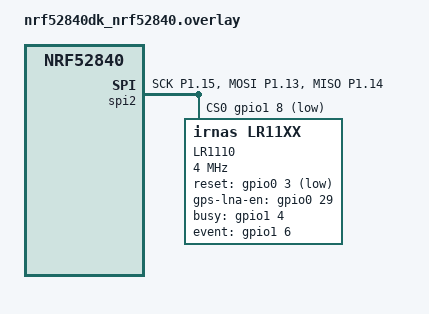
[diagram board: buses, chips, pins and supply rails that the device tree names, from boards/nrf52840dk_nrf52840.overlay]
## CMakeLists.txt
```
# SPDX-License-Identifier: Apache-2.0

cmake_minimum_required(VERSION 3.13.1)

find_package(Zephyr HINTS $ENV{ZEPHYR_BASE})
project(gnss)

zephyr_compile_options(-fdiagnostics-color=always)


zephyr_include_directories(.)
add_subdirectory(${CMAKE_CURRENT_SOURCE_DIR}/../common src/common)
add_subdirectory(src)
```

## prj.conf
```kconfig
# Enable logging (it need to be disabled for low power)
CONFIG_PRINTK=y
CONFIG_GPIO=y
CONFIG_SERIAL=y
CONFIG_CONSOLE=y
CONFIG_UART_CONSOLE=y
CONFIG_LOG=y
CONFIG_LOG_DEFAULT_LEVEL=4
CONFIG_LOG_BACKEND_UART=y
CONFIG_LOG_PRINTK=y

CONFIG_SPI=y
CONFIG_LR11XX_LIB=y
CONFIG_LR11XX_LOG_LEVEL_INF=y

CONFIG_PINCTRL=y
CONFIG_NEWLIB_LIBC=y
```

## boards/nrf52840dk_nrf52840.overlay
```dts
#include <lr11xx_bindings_def.h>
&spi1 {
    status = "disabled";
};

&spi2 {
    compatible = "nordic,nrf-spi";
    status = "okay";
    pinctrl-0 = <&spi2_default>;
    pinctrl-1 = <&spi2_sleep>;
    pinctrl-names = "default", "sleep";

    cs-gpios = <&gpio1 8 GPIO_ACTIVE_LOW>;
    lr1120: lr1120@0 {
        compatible = "irnas,lr11xx";
        reg = <0>;
        spi-max-frequency = <4000000>;
        label = "LR1110";

        reset-gpios = <&gpio0 3 GPIO_ACTIVE_LOW>;
        gps-lna-en-gpios = <&gpio0 29 0>;
        busy-gpios = <&gpio1 4 GPIO_ACTIVE_HIGH>;
        event-gpios = <&gpio1 6 (GPIO_ACTIVE_HIGH | GPIO_PULL_DOWN) >;

        rf-sw-enable = <(LR11XX_DIO5 | LR11XX_DIO6 | LR11XX_DIO7)>;
        rf-sw-rx-mode = <LR11XX_DIO5>;
        rf-sw-tx-mode = <(LR11XX_DIO5 | LR11XX_DIO6)>;
        rf-sw-tx-hp-mode = <LR11XX_DIO6>;
        rf-sw-gnss-mode = <LR11XX_DIO7>;
    };
};

&pinctrl {
	spi2_default: spi2_default {
		group1 {
			psels = <NRF_PSEL(SPIM_SCK, 1, 15)>,
			        <NRF_PSEL(SPIM_MOSI, 1, 13)>,
			        <NRF_PSEL(SPIM_MISO, 1, 14)>;
		};
	};

	spi2_sleep: spi2_sleep {
		group1 {
			psels = <NRF_PSEL(SPIM_SCK, 1, 15)>,
			        <NRF_PSEL(SPIM_MOSI, 1, 13)>,
			        <NRF_PSEL(SPIM_MISO, 1, 14)>;
			low-power-enable;
		};
	};
};
```

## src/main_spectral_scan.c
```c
/*!
 * @file      main_spectral_scan.c
 *
 * @brief     Spectral-scan example for LR11xx chip
 *
 * The Clear BSD License
 * Copyright Semtech Corporation 2022. All rights reserved.
 *
 * Redistribution and use in source and binary forms, with or without
 * modification, are permitted (subject to the limitations in the disclaimer
 * below) provided that the following conditions are met:
 *     * Redistributions of source code must retain the above copyright
 *       notice, this list of conditions and the following disclaimer.
 *     * Redistributions in binary form must reproduce the above copyright
 *       notice, this list of conditions and the following disclaimer in the
 *       documentation and/or other materials provided with the distribution.
 *     * Neither the name of the Semtech corporation nor the
 *       names of its contributors may be used to endorse or promote products
 *       derived from this software without specific prior written permission.
 *
 * NO EXPRESS OR IMPLIED LICENSES TO ANY PARTY'S PATENT RIGHTS ARE GRANTED BY
 * THIS LICENSE. THIS SOFTWARE IS PROVIDED BY THE COPYRIGHT HOLDERS AND
 * CONTRIBUTORS "AS IS" AND ANY EXPRESS OR IMPLIED WARRANTIES, INCLUDING, BUT
 * NOT LIMITED TO, THE IMPLIED WARRANTIES OF MERCHANTABILITY AND FITNESS FOR A
 * PARTICULAR PURPOSE ARE DISCLAIMED. IN NO EVENT SHALL SEMTECH CORPORATION BE
 * LIABLE FOR ANY DIRECT, INDIRECT, INCIDENTAL, SPECIAL, EXEMPLARY, OR
 * CONSEQUENTIAL DAMAGES (INCLUDING, BUT NOT LIMITED TO, PROCUREMENT OF
 * SUBSTITUTE GOODS OR SERVICES; LOSS OF USE, DATA, OR PROFITS; OR BUSINESS
 * INTERRUPTION) HOWEVER CAUSED AND ON ANY THEORY OF LIABILITY, WHETHER IN
 * CONTRACT, STRICT LIABILITY, OR TORT (INCLUDING NEGLIGENCE OR OTHERWISE)
 * ARISING IN ANY WAY OUT OF THE USE OF THIS SOFTWARE, EVEN IF ADVISED OF THE
 * POSSIBILITY OF SUCH DAMAGE.
 */

/*
 * -----------------------------------------------------------------------------
 * --- DEPENDENCIES ------------------------------------------------------------
 */

#include <string.h>
#include <stdlib.h>
#include <zephyr/kernel.h>
#include <zephyr/types.h>
#include <zephyr/device.h>
#include <zephyr/devicetree.h>

#include "apps_common.h"
#include "lr11xx_board.h"
#include "lr11xx_radio.h"
#include "lr11xx_system.h"
#include "lr11xx_system_types.h"
#include "main_spectral_scan.h"

#include <zephyr/logging/log.h>
LOG_MODULE_REGISTER(main);

/*
 * -----------------------------------------------------------------------------
 * --- PRIVATE MACROS-----------------------------------------------------------
 */

/**
 * @brief Duration of the wait between setting to RX mode and valid instant RSSI value available
 *
 * Expressed in milliseconds
 *
 * @warning If switching from StandbyRC mode this delay is recommended to set to 30ms; if switching from StandbyXOSC,
 * 1ms.
 */
#define DELAY_BETWEEN_SET_RX_AND_VALID_RSSI_MS ( 1 )

/**
 * @brief Duration of the wait between each instant RSSI fetch. This is to make sure that the RSSI value is stable
 * before fetching
 */
#define DELAY_BETWEEN_EACH_INST_RSSI_FETCH_US ( 800 )

/*!
 * @brief determine RSSI level scales
 */
#define RSSI_LEVEL_NUM ( ( RSSI_TOP_LEVEL_DBM - RSSI_BOTTOM_LEVEL_DBM ) / RSSI_SCALE + 1 )

/*
 * -----------------------------------------------------------------------------
 * --- PRIVATE CONSTANTS -------------------------------------------------------
 */

#define APP_PARTIAL_SLEEP true

/*
 * -----------------------------------------------------------------------------
 * --- PRIVATE TYPES -----------------------------------------------------------
 */

/*
 * -----------------------------------------------------------------------------
 * --- PRIVATE VARIABLES -------------------------------------------------------
 */

const struct device *context = DEVICE_DT_GET(DT_NODELABEL(lr11xx));

static uint16_t      levels[RSSI_LEVEL_NUM];
const static uint8_t rssi_level_num = RSSI_LEVEL_NUM;

/*
 * -----------------------------------------------------------------------------
 * --- PRIVATE FUNCTIONS DECLARATION -------------------------------------------
 */

static void spectral_scan_start( uint32_t freq_hz );
static void print_configuration( void );

/*
 * -----------------------------------------------------------------------------
 * --- PUBLIC FUNCTIONS DEFINITION ---------------------------------------------
 */

/**
 * @brief Main application entry point.
 */
int main( void )
{
    int ret = 0;

    LOG_INF( "===== LR11xx Spectral Scan example =====\n" );

    apps_common_lr11xx_system_init( ( void* ) context );

    apps_common_lr11xx_fetch_and_print_version( ( void* ) context );

    apps_common_lr11xx_radio_init( ( void* ) context );

    print_configuration( );

    memset( levels, 0, ( rssi_level_num * sizeof( uint16_t ) ) );

    while( 1 )
    {
        int8_t         result;
        static uint8_t freq_chan_index = 0;
        const uint32_t freq_hz         = FREQ_START_HZ + ( freq_chan_index * WIDTH_CHAN_HZ );

        /* Start Spectral scan */
        spectral_scan_start( freq_hz );

        LOG_INF( "%.3f MHz: ", ( freq_hz / 1E6 ) );
        for( uint16_t i = 0; i < NB_SCAN; i++ )
        {
            k_sleep(K_USEC( DELAY_BETWEEN_EACH_INST_RSSI_FETCH_US ) );
            ret = lr11xx_radio_get_rssi_inst( context, &result );
            if(ret)
            {
                LOG_ERR("Failed to get rssi.");
            }
            levels[abs( result ) / RSSI_SCALE]++;
        }

        for( uint8_t i = 0; i < rssi_level_num; i++ )
        {
            printk( "%u ", levels[i] );
            levels[i] = 0;
        }
        printk( "\n" );

        /* Switch to next channel */
        ret = lr11xx_system_set_standby( context, LR11XX_SYSTEM_STANDBY_CFG_XOSC );
        if(ret)
        {
            LOG_ERR("Failed to set standby.");
        }

        freq_chan_index++;
        if( freq_chan_index >= NB_CHAN )
        {
            freq_chan_index = 0;

            print_configuration( );
        }

        /* Pace the scan speed (1 sec min) */
        for( uint16_t i = 0; i < ( int ) ( PACE_S ? PACE_S : 1 ); i++ )
        {
            k_sleep(K_MSEC( 1000 ));
        }
    }
}

void spectral_scan_start( uint32_t freq_hz )
{
    int ret = 0;
    /* Set frequency */
    ret = lr11xx_radio_set_rf_freq( context, freq_hz );
    if(ret)
    {
        LOG_ERR("Failed to set RF frequency.");
    }

    /* Set Radio in Rx continuous mode */
    ret = lr11xx_radio_set_rx_with_timeout_in_rtc_step( context, RX_CONTINUOUS );
    if(ret)
    {
        LOG_ERR("Failed to set RX ctn mode.");
    }

    k_sleep(K_MSEC( DELAY_BETWEEN_SET_RX_AND_VALID_RSSI_MS ));
}

void print_configuration( void )
{
    LOG_INF( "Spectral Scan configuration:" );
    LOG_INF( "  - Number of scan points in each scan for statistics: %d", NB_SCAN );
    LOG_INF( "  - Number of channels need to scan: %d", NB_CHAN );
    LOG_INF( "  - Time delay between 2 scans: %d S", PACE_S );
    LOG_INF( "  - Start frequency: %lld Hz",  FREQ_START_HZ );
    LOG_INF( "  - Frequency step of scan channels: %d Hz", WIDTH_CHAN_HZ );
    LOG_INF( "Start Spectral Scan:" );
}
```
